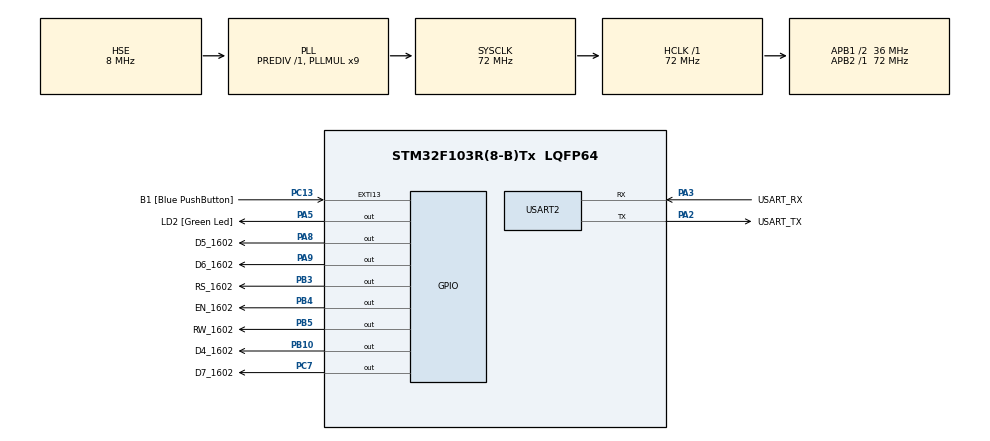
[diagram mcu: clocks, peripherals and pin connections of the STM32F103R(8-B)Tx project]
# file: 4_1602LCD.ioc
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Mcu.Family=STM32F1
Mcu.Name=STM32F103R(8-B)Tx
Mcu.Package=LQFP64
NVIC.EXTI15_10_IRQn=true\:0\:0\:false\:false\:true\:true\:true
NVIC.PriorityGroup=NVIC_PRIORITYGROUP_4
PA13.GPIO_Label=TMS
PA13.Mode=Serial_Wire
PA13.Signal=SYS_JTMS-SWDIO
PA14.GPIO_Label=TCK
PA14.Mode=Serial_Wire
PA14.Signal=SYS_JTCK-SWCLK
PA2.GPIO_Label=USART_TX
PA2.GPIO_Mode=GPIO_MODE_AF_PP
PA2.GPIO_PuPd=GPIO_NOPULL
PA2.GPIO_Speed=GPIO_SPEED_FREQ_LOW
PA2.Mode=Asynchronous
PA2.Signal=USART2_TX
PA3.GPIO_Label=USART_RX
PA3.GPIO_Mode=GPIO_MODE_AF_PP
PA3.GPIO_PuPd=GPIO_NOPULL
PA3.GPIO_Speed=GPIO_SPEED_FREQ_LOW
PA3.Mode=Asynchronous
PA3.Signal=USART2_RX
PA5.GPIO_Label=LD2 [Green Led]
PA5.GPIO_ModeDefaultOutputPP=GPIO_MODE_OUTPUT_PP
PA5.GPIO_PuPd=GPIO_NOPULL
PA5.GPIO_Speed=GPIO_SPEED_FREQ_LOW
PA5.Signal=GPIO_Output
PA8.GPIO_Label=D5_1602
PA8.Signal=GPIO_Output
PA9.GPIO_Label=D6_1602
PA9.Signal=GPIO_Output
PB10.GPIO_Label=D4_1602
PB10.Signal=GPIO_Output
PB3.GPIO_Label=RS_1602
PB3.Signal=GPIO_Output
PB4.GPIO_Label=EN_1602
PB4.Signal=GPIO_Output
PB5.GPIO_Label=RW_1602
PB5.Signal=GPIO_Output
PC13-TAMPER-RTC.GPIO_Label=B1 [Blue PushButton]
PC13-TAMPER-RTC.GPIO_PuPd=GPIO_NOPULL
PC13-TAMPER-RTC.Signal=GPXTI13
PC14-OSC32_IN.Mode=LSE-External-Oscillator
PC14-OSC32_IN.Signal=RCC_OSC32_IN
PC15-OSC32_OUT.Mode=LSE-External-Oscillator
PC15-OSC32_OUT.Signal=RCC_OSC32_OUT
PC7.GPIO_Label=D7_1602
PC7.Signal=GPIO_Output
PD0-OSC_IN.Mode=HSE-External-Clock-Source
PD0-OSC_IN.Signal=RCC_OSC_IN
PD1-OSC_OUT.Mode=HSE-External-Clock-Source
PD1-OSC_OUT.Signal=RCC_OSC_OUT
ProjectManager.HeapSize=0x200
ProjectManager.StackSize=0x400
ProjectManager.TargetToolchain=STM32CubeIDE
RCC.AHBFreq_Value=72000000
RCC.APB1CLKDivider=RCC_HCLK_DIV2
RCC.APB1Freq_Value=36000000
RCC.APB1TimFreq_Value=72000000
RCC.APB2Freq_Value=72000000
RCC.APB2TimFreq_Value=72000000
RCC.HCLKFreq_Value=72000000
RCC.PLLMUL=RCC_PLL_MUL9
RCC.PLLSourceVirtual=RCC_PLLSOURCE_HSE
RCC.RTCClockSelection=RCC_RTCCLKSOURCE_LSE
RCC.SYSCLKFreq_VALUE=72000000
RCC.SYSCLKSource=RCC_SYSCLKSOURCE_PLLCLK
RCC.USBFreq_Value=72000000
TIM1.Period=0xffff-1
TIM1.Prescaler=72-1
USART2.VirtualMode=VM_ASYNC
VP_TIM1_VS_ClockSourceINT.Mode=Internal
board=NUCLEO-F103RB

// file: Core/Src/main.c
/* USER CODE BEGIN Header */
/**
  ******************************************************************************
  * @file           : main.c
  * @brief          : Main program body
  ******************************************************************************
  * @attention
  *
  * <h2><center>&copy; Copyright (c) 2021 STMicroelectronics.
  * All rights reserved.</center></h2>
  *
  * This software component is licensed by ST under BSD 3-Clause license,
  * the "License"; You may not use this file except in compliance with the
  * License. You may obtain a copy of the License at:
  *                        opensource.org/licenses/BSD-3-Clause
  *
  ******************************************************************************
  */
/* USER CODE END Header */
#include "main.h"

/* USER CODE BEGIN Includes */
#include <stdio.h>
#include <string.h>
/* USER CODE END Includes */

TIM_HandleTypeDef htim1;

UART_HandleTypeDef huart2;

void SystemClock_Config(void);
static void MX_GPIO_Init(void);
static void MX_USART2_UART_Init(void);
static void MX_TIM1_Init(void);

/* USER CODE BEGIN 0 */
//----- us단위 대기 함수 (https://slt.pw/iyFFwF1 참고)
void delay_us(uint16_t time) {
	__HAL_TIM_SET_COUNTER(&htim1, 0);
	while((__HAL_TIM_GET_COUNTER(&htim1))<time);
}

//----- EN핀 펄스 생성 함수
void pulse_en() {
    HAL_GPIO_WritePin(EN_1602_GPIO_Port, EN_1602_Pin, 1);
    delay_us(20);
    HAL_GPIO_WritePin(EN_1602_GPIO_Port, EN_1602_Pin, 0);
    delay_us(20);
}

//----- LCD 디스플레이로 4bit 데이터 전송
void lcd_send_4bit(char data) {
    HAL_GPIO_WritePin(D7_1602_GPIO_Port, D7_1602_Pin, ((data >> 3) & 0x01)); // 4비트 중 4번째 비트 시프트, 마스킹
    HAL_GPIO_WritePin(D6_1602_GPIO_Port, D6_1602_Pin, ((data >> 2) & 0x01)); // 4비트 중 3번째 비트 시프트, 마스킹
    HAL_GPIO_WritePin(D5_1602_GPIO_Port, D5_1602_Pin, ((data >> 1) & 0x01)); // 4비트 중 2번째 비트 시프트, 마스킹
    HAL_GPIO_WritePin(D4_1602_GPIO_Port, D4_1602_Pin, (data & 0x01)); // 4비트 중 1번째 비트 마스킹
    pulse_en();
}

//----- LCD 디스플레이로 8bit 데이터 전송
void lcd_send_8bit(char data) {
	lcd_send_4bit((data >> 4) & 0x0F); // 상위 4비트 전송
	lcd_send_4bit(data & 0x0F);        // 하위 4비트 전송
}

//----- LCD 디스플레이 커서 설정
void lcd_set_cur(int row, int col) {
	HAL_GPIO_WritePin(RS_1602_GPIO_Port, RS_1602_Pin, 0); // 설정 모드
    switch (row) {
        case 0:
            col |= 0x80;
            break;
        case 1:
            col |= 0xC0;
            break;
    }
    lcd_send_8bit(col); // DDRAM AD Set 명령
}

//----- LCD 디스플레이 문자 비우기
void lcd_clear() {
	HAL_GPIO_WritePin(RS_1602_GPIO_Port, RS_1602_Pin, 0); // 설정 모드
	lcd_send_8bit(0b00000001); // Screen Clear 명령 -> 디스플레이 내용 지움
	HAL_Delay(2);              // 명령 실행시간인 1.64ms 이상 대기
}

//----- LCD 디스플레이로 문자열 전송
void lcd_send_string(char *str) {
	HAL_GPIO_WritePin(RS_1602_GPIO_Port, RS_1602_Pin, 1); // 문자 전송 모드
	// 보낼 string 주소값(포인터)을 받아 문자 하나씩 lcd_send_8bit 함수로 보내며 포인터 1씩 올림(=다음 문자 선택)
	while (*str) {
		lcd_send_8bit(*str++);
	}
}

//----- LCD 디스플레이 초기화 (데이터시트 INITIALIZATION SEQUENCE 참고)
void lcd_init(void) {
	HAL_GPIO_WritePin(RS_1602_GPIO_Port, RS_1602_Pin, 0); // 설정 모드

    // 4 bit 모드로 설정 (데이터시트를 따름)
    HAL_Delay(50);         // 부팅시간인 15ms 이상 대기

    lcd_send_4bit(0b0011); // 설정 반복 1
    HAL_Delay(5);          // 명령 실행시간인 4.1ms 이상 대기
    lcd_send_4bit(0b0011); // 설정 반복 2
    HAL_Delay(1);          // 명령 실행시간인 0.1ms 이상 대기 (이하 동일)
    lcd_send_4bit(0b0011); // 설정 반복 3
    HAL_Delay(1);
    lcd_send_4bit(0b0010); // 4비트 모드로 설정
    HAL_Delay(1);

    // 디스플레이 Init (데이터시트를 따름)
    lcd_send_8bit(0b00101000); // Function set 명령 -> DL=0, N=1, F=0 -> 4비트, 2줄, 5x7 도트
    HAL_Delay(1);              // 명령 실행시간인 0.04ms 이상 대기 (이하 동일)
    lcd_send_8bit(0b00001000); // Display Switch 명령 -> D=0, C=0, B=0  -> 디스플레이 OFF, 커서 OFF, 블링크 OFF
    HAL_Delay(1);
    lcd_send_8bit(0b00000001); // Screen Clear 명령 -> 디스플레이 내용 지움
    HAL_Delay(2);
    lcd_send_8bit(0b00000110); // Input Set 명령 -> I/D = 1, S = 0 -> 커서 방향 더하기, 시프트 X
    HAL_Delay(1);

    // Init 끝. 사용을 위해 디스플레이 켜줌.
    lcd_send_8bit(0b00001100); // Display Switch 명령 -> D=0, C=0, B=0  -> 디스플레이 ON, 커서 OFF, 블링크 OFF
    HAL_Delay(1);
}
/* USER CODE END 0 */

int main(void)
{

  /* MCU Configuration--------------------------------------------------------*/

  /* Reset of all peripherals, Initializes the Flash interface and the Systick. */
  HAL_Init();

  /* Configure the system clock */
  SystemClock_Config();

  /* Initialize all configured peripherals */
  MX_GPIO_Init();
  MX_USART2_UART_Init();
  MX_TIM1_Init();
  /* USER CODE BEGIN 2 */
  HAL_TIM_Base_Start(&htim1);  // delay_ms() 함수를 위한 타이머 시작
  /* USER CODE END 2 */

  /* Infinite loop */
  /* USER CODE BEGIN WHILE */
  lcd_init();                      // LCD init
  lcd_set_cur(0, 0);               // 커서 0, 0 이동
  lcd_send_string("Hello World!"); // LCD Hello World! 문자열 표시

  int cnt = 0;     // 카운트를 위한 숫자 변수
  char buffer[16]; // 문자열 생성을 위한 변수
  while (1) {
	  lcd_set_cur(1, 0);               // 커서 1, 0 이동
	  sprintf(buffer, "cnt: %d", cnt); // 카운트를 표시하는 문자열 생성
	  lcd_send_string(buffer);         // LCD 문자열 표시
	  cnt++;                           // cmd 1 더함
	  HAL_Delay(1000);                 // 1초 대기
    /* USER CODE END WHILE */

  }
}

void SystemClock_Config(void)
{
  RCC_OscInitTypeDef RCC_OscInitStruct = {0};
  RCC_ClkInitTypeDef RCC_ClkInitStruct = {0};

  /** Initializes the RCC Oscillators according to the specified parameters
  * in the RCC_OscInitTypeDef structure.
  */
  RCC_OscInitStruct.OscillatorType = RCC_OSCILLATORTYPE_HSE;
  RCC_OscInitStruct.HSEState = RCC_HSE_BYPASS;
  RCC_OscInitStruct.HSEPredivValue = RCC_HSE_PREDIV_DIV1;
  RCC_OscInitStruct.HSIState = RCC_HSI_ON;
  RCC_OscInitStruct.PLL.PLLState = RCC_PLL_ON;
  RCC_OscInitStruct.PLL.PLLSource = RCC_PLLSOURCE_HSE;
  RCC_OscInitStruct.PLL.PLLMUL = RCC_PLL_MUL9;
  if (HAL_RCC_OscConfig(&RCC_OscInitStruct) != HAL_OK)
  {
    Error_Handler();
  }
  /** Initializes the CPU, AHB and APB buses clocks
  */
  RCC_ClkInitStruct.ClockType = RCC_CLOCKTYPE_HCLK|RCC_CLOCKTYPE_SYSCLK
                              |RCC_CLOCKTYPE_PCLK1|RCC_CLOCKTYPE_PCLK2;
  RCC_ClkInitStruct.SYSCLKSource = RCC_SYSCLKSOURCE_PLLCLK;
  RCC_ClkInitStruct.AHBCLKDivider = RCC_SYSCLK_DIV1;
  RCC_ClkInitStruct.APB1CLKDivider = RCC_HCLK_DIV2;
  RCC_ClkInitStruct.APB2CLKDivider = RCC_HCLK_DIV1;

  if (HAL_RCC_ClockConfig(&RCC_ClkInitStruct, FLASH_LATENCY_2) != HAL_OK)
  {
    Error_Handler();
  }
}

static void MX_TIM1_Init(void)
{

  TIM_ClockConfigTypeDef sClockSourceConfig = {0};
  TIM_MasterConfigTypeDef sMasterConfig = {0};

  htim1.Instance = TIM1;
  htim1.Init.Prescaler = 72-1;
  htim1.Init.CounterMode = TIM_COUNTERMODE_UP;
  htim1.Init.Period = 0xffff-1;
  htim1.Init.ClockDivision = TIM_CLOCKDIVISION_DIV1;
  htim1.Init.RepetitionCounter = 0;
  htim1.Init.AutoReloadPreload = TIM_AUTORELOAD_PRELOAD_DISABLE;
  if (HAL_TIM_Base_Init(&htim1) != HAL_OK)
  {
    Error_Handler();
  }
  sClockSourceConfig.ClockSource = TIM_CLOCKSOURCE_INTERNAL;
  if (HAL_TIM_ConfigClockSource(&htim1, &sClockSourceConfig) != HAL_OK)
  {
    Error_Handler();
  }
  sMasterConfig.MasterOutputTrigger = TIM_TRGO_RESET;
  sMasterConfig.MasterSlaveMode = TIM_MASTERSLAVEMODE_DISABLE;
  if (HAL_TIMEx_MasterConfigSynchronization(&htim1, &sMasterConfig) != HAL_OK)
  {
    Error_Handler();
  }

}

static void MX_USART2_UART_Init(void)
{

  huart2.Instance = USART2;
  huart2.Init.BaudRate = 115200;
  huart2.Init.WordLength = UART_WORDLENGTH_8B;
  huart2.Init.StopBits = UART_STOPBITS_1;
  huart2.Init.Parity = UART_PARITY_NONE;
  huart2.Init.Mode = UART_MODE_TX_RX;
  huart2.Init.HwFlowCtl = UART_HWCONTROL_NONE;
  huart2.Init.OverSampling = UART_OVERSAMPLING_16;
  if (HAL_UART_Init(&huart2) != HAL_OK)
  {
    Error_Handler();
  }

}

static void MX_GPIO_Init(void)
{
  GPIO_InitTypeDef GPIO_InitStruct = {0};

  /* GPIO Ports Clock Enable */
  __HAL_RCC_GPIOC_CLK_ENABLE();
  __HAL_RCC_GPIOD_CLK_ENABLE();
  __HAL_RCC_GPIOA_CLK_ENABLE();
  __HAL_RCC_GPIOB_CLK_ENABLE();

  /*Configure GPIO pin Output Level */
  HAL_GPIO_WritePin(GPIOA, LD2_Pin|D5_1602_Pin|D6_1602_Pin, GPIO_PIN_RESET);

  /*Configure GPIO pin Output Level */
  HAL_GPIO_WritePin(GPIOB, D4_1602_Pin|RS_1602_Pin|EN_1602_Pin|RW_1602_Pin, GPIO_PIN_RESET);

  /*Configure GPIO pin Output Level */
  HAL_GPIO_WritePin(D7_1602_GPIO_Port, D7_1602_Pin, GPIO_PIN_RESET);

  /*Configure GPIO pin : B1_Pin */
  GPIO_InitStruct.Pin = B1_Pin;
  GPIO_InitStruct.Mode = GPIO_MODE_IT_RISING;
  GPIO_InitStruct.Pull = GPIO_NOPULL;
  HAL_GPIO_Init(B1_GPIO_Port, &GPIO_InitStruct);

  /*Configure GPIO pins : LD2_Pin D5_1602_Pin D6_1602_Pin */
  GPIO_InitStruct.Pin = LD2_Pin|D5_1602_Pin|D6_1602_Pin;
  GPIO_InitStruct.Mode = GPIO_MODE_OUTPUT_PP;
  GPIO_InitStruct.Pull = GPIO_NOPULL;
  GPIO_InitStruct.Speed = GPIO_SPEED_FREQ_LOW;
  HAL_GPIO_Init(GPIOA, &GPIO_InitStruct);

  /*Configure GPIO pins : D4_1602_Pin RS_1602_Pin EN_1602_Pin RW_1602_Pin */
  GPIO_InitStruct.Pin = D4_1602_Pin|RS_1602_Pin|EN_1602_Pin|RW_1602_Pin;
  GPIO_InitStruct.Mode = GPIO_MODE_OUTPUT_PP;
  GPIO_InitStruct.Pull = GPIO_NOPULL;
  GPIO_InitStruct.Speed = GPIO_SPEED_FREQ_LOW;
  HAL_GPIO_Init(GPIOB, &GPIO_InitStruct);

  /*Configure GPIO pin : D7_1602_Pin */
  GPIO_InitStruct.Pin = D7_1602_Pin;
  GPIO_InitStruct.Mode = GPIO_MODE_OUTPUT_PP;
  GPIO_InitStruct.Pull = GPIO_NOPULL;
  GPIO_InitStruct.Speed = GPIO_SPEED_FREQ_LOW;
  HAL_GPIO_Init(D7_1602_GPIO_Port, &GPIO_InitStruct);

  /* EXTI interrupt init*/
  HAL_NVIC_SetPriority(EXTI15_10_IRQn, 0, 0);
  HAL_NVIC_EnableIRQ(EXTI15_10_IRQn);

}

void Error_Handler(void)
{
  __disable_irq();
  while (1)
  {
  }
}

/************************ (C) COPYRIGHT STMicroelectronics *****END OF FILE****/
